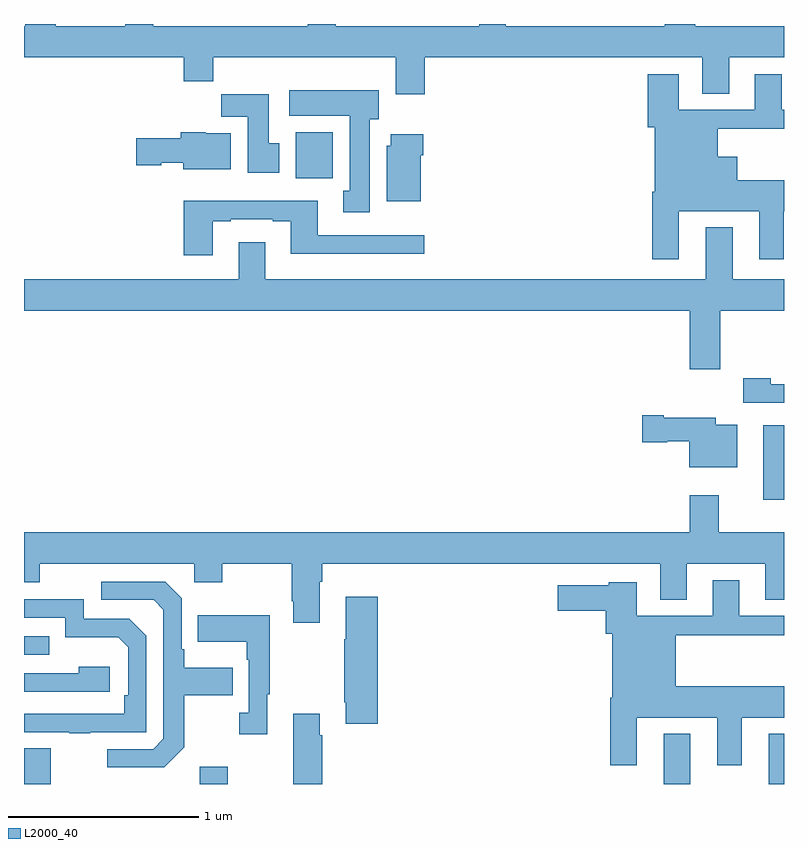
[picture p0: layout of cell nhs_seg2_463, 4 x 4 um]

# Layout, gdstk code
import gdstk
lib = gdstk.Library(unit=1e-6, precision=1e-09)
def R(c, l, rs):  # rectangles x0, y0, x1, y1
    for r in rs: c.add(gdstk.rectangle(r[:2], r[2:], *l))
def P(c, l, *ps):  # polygons
    for p in ps: c.add(gdstk.Polygon(p, *l))
L2000_40 = (2000, 40)

nhs_seg2_463 = lib.new_cell('nhs_seg2_463')
R(nhs_seg2_463, L2000_40, [(133.001,655.8,133.141,655.987), (133.925,655.8,134.073,655.891), (136.367,655.8,136.507,656.065), (136.919,655.8,137,656.065), (133,656.481,133.133,656.577), (136.892,657.296,137,657.688), (134.429,658.988,134.626,659.23)])
P(nhs_seg2_463, L2000_40, [(135.11,659.624),(136.571,659.624),(136.571,659.434),(136.711,659.434),(136.711,659.624),(137,659.624),(137,659.788),(136.532,659.788),(136.532,659.8),(136.372,659.8),(136.372,659.788),(135.535,659.788),(135.535,659.8),(135.395,659.8),(135.395,659.788),(134.641,659.788),(134.641,659.8),(134.494,659.8),(134.494,659.788),(133.68,659.788),(133.68,659.8),(133.534,659.8),(133.534,659.788),(133.167,659.788),(133.167,659.8),(133.007,659.8),(133.007,659.788),(133,659.788),(133,659.624),(133.841,659.624),(133.841,659.5),(133.997,659.5),(133.997,659.624),(134.957,659.624),(134.957,659.43),(135.11,659.43)],
  [(136.447,658.814),(136.871,658.814),(136.871,658.563),(136.999,658.563),(136.999,658.814),(137,658.814),(137,658.978),(136.753,658.978),(136.753,659.101),(136.651,659.101),(136.651,659.248),(137,659.248),(137,659.349),(136.987,659.349),(136.987,659.536),(136.847,659.536),(136.847,659.349),(136.447,659.349),(136.447,659.536),(136.283,659.536),(136.283,659.256),(136.319,659.256),(136.319,658.918),(136.307,658.918),(136.307,658.563),(136.447,658.563)],
  [(134.821,659.298),(134.866,659.298),(134.866,659.452),(134.397,659.452),(134.397,659.318),(134.714,659.318),(134.714,658.922),(134.681,658.922),(134.681,658.809),(134.821,658.809)],
  [(134.344,659.172),(134.287,659.172),(134.287,659.431),(134.038,659.431),(134.038,659.312),(134.177,659.312),(134.177,659.016),(134.344,659.016)],
  [(134.089,659.224),(133.956,659.224),(133.956,659.23),(133.826,659.23),(133.826,659.199),(133.59,659.199),(133.59,659.057),(133.722,659.057),(133.722,659.069),(133.838,659.069),(133.838,659.036),(134.089,659.036)],
  [(135.088,659.108),(135.101,659.108),(135.101,659.221),(134.93,659.221),(134.93,659.16),(134.909,659.16),(134.909,658.868),(135.088,658.868)],
  [(133.993,658.761),(134.089,658.761),(134.089,658.773),(134.309,658.773),(134.309,658.761),(134.405,658.761),(134.405,658.592),(135.106,658.592),(135.106,658.689),(134.545,658.689),(134.545,658.87),(133.841,658.87),(133.841,658.584),(133.993,658.584)],
  [(136.665,658.292),(137,658.292),(137,658.456),(136.729,658.456),(136.729,658.729),(136.589,658.729),(136.589,658.456),(134.269,658.456),(134.269,658.651),(134.129,658.651),(134.129,658.456),(133,658.456),(133,658.292),(136.505,658.292),(136.505,657.984),(136.665,657.984)],
  [(137,657.903),(136.929,657.903),(136.929,657.936),(136.785,657.936),(136.785,657.807),(137,657.807)],
  [(136.753,657.691),(136.642,657.691),(136.642,657.727),(136.366,657.727),(136.366,657.74),(136.254,657.74),(136.254,657.598),(136.386,657.598),(136.386,657.605),(136.502,657.605),(136.502,657.467),(136.753,657.467)],
  [(134.557,656.864),(134.57,656.864),(134.57,656.96),(136.349,656.96),(136.349,656.77),(136.489,656.77),(136.489,656.96),(136.901,656.96),(136.901,656.77),(137,656.77),(137,657.124),(136.657,657.124),(136.657,657.319),(136.505,657.319),(136.505,657.124),(133,657.124),(133,656.861),(133.083,656.861),(133.083,656.96),(133.896,656.96),(133.896,656.861),(134.043,656.861),(134.043,656.96),(134.41,656.96),(134.41,656.761),(134.417,656.761),(134.417,656.649),(134.557,656.649)],
  [(136.225,656.15),(136.649,656.15),(136.649,655.899),(136.777,655.899),(136.777,656.15),(137,656.15),(137,656.314),(136.429,656.314),(136.429,656.584),(137,656.584),(137,656.685),(136.765,656.685),(136.765,656.872),(136.625,656.872),(136.625,656.685),(136.225,656.685),(136.225,656.863),(136.077,656.863),(136.077,656.845),(135.81,656.845),(135.81,656.711),(136.061,656.711),(136.061,656.592),(136.097,656.592),(136.097,656.254),(136.085,656.254),(136.085,655.899),(136.225,655.899)],
  [(133.843,655.993),(133.843,656.266),(134.099,656.266),(134.099,656.413),(133.843,656.413),(133.843,656.509),(133.83,656.509),(133.83,656.778),(133.743,656.865),(133.407,656.865),(133.407,656.769),(133.683,656.769),(133.734,656.718),(133.734,656.037),(133.68,655.983),(133.437,655.983),(133.437,655.887),(133.737,655.887)],
  [(134.861,656.785),(134.693,656.785),(134.693,656.561),(134.686,656.561),(134.686,656.23),(134.693,656.23),(134.693,656.118),(134.861,656.118)],
  [(133.349,656.073),(133.644,656.073),(133.644,656.58),(133.554,656.67),(133.314,656.67),(133.314,656.772),(133,656.772),(133,656.676),(133.218,656.676),(133.218,656.573),(133.495,656.573),(133.548,656.52),(133.548,656.266),(133.528,656.266),(133.528,656.169),(133,656.169),(133,656.073),(133.237,656.073),(133.237,656.068),(133.349,656.068)],
  [(134.281,656.273),(134.293,656.273),(134.293,656.689),(133.915,656.689),(133.915,656.549),(134.172,656.549),(134.172,656.453),(134.184,656.453),(134.184,656.174),(134.133,656.174),(134.133,656.061),(134.281,656.061)],
  [(133.45,656.416),(133.289,656.416),(133.289,656.382),(133,656.382),(133,656.286),(133.45,656.286)],
  [(134.57,656.057),(134.557,656.057),(134.557,656.17),(134.417,656.17),(134.417,655.8),(134.57,655.8)])

lib.write_gds('nhs_seg2_463.gds')
